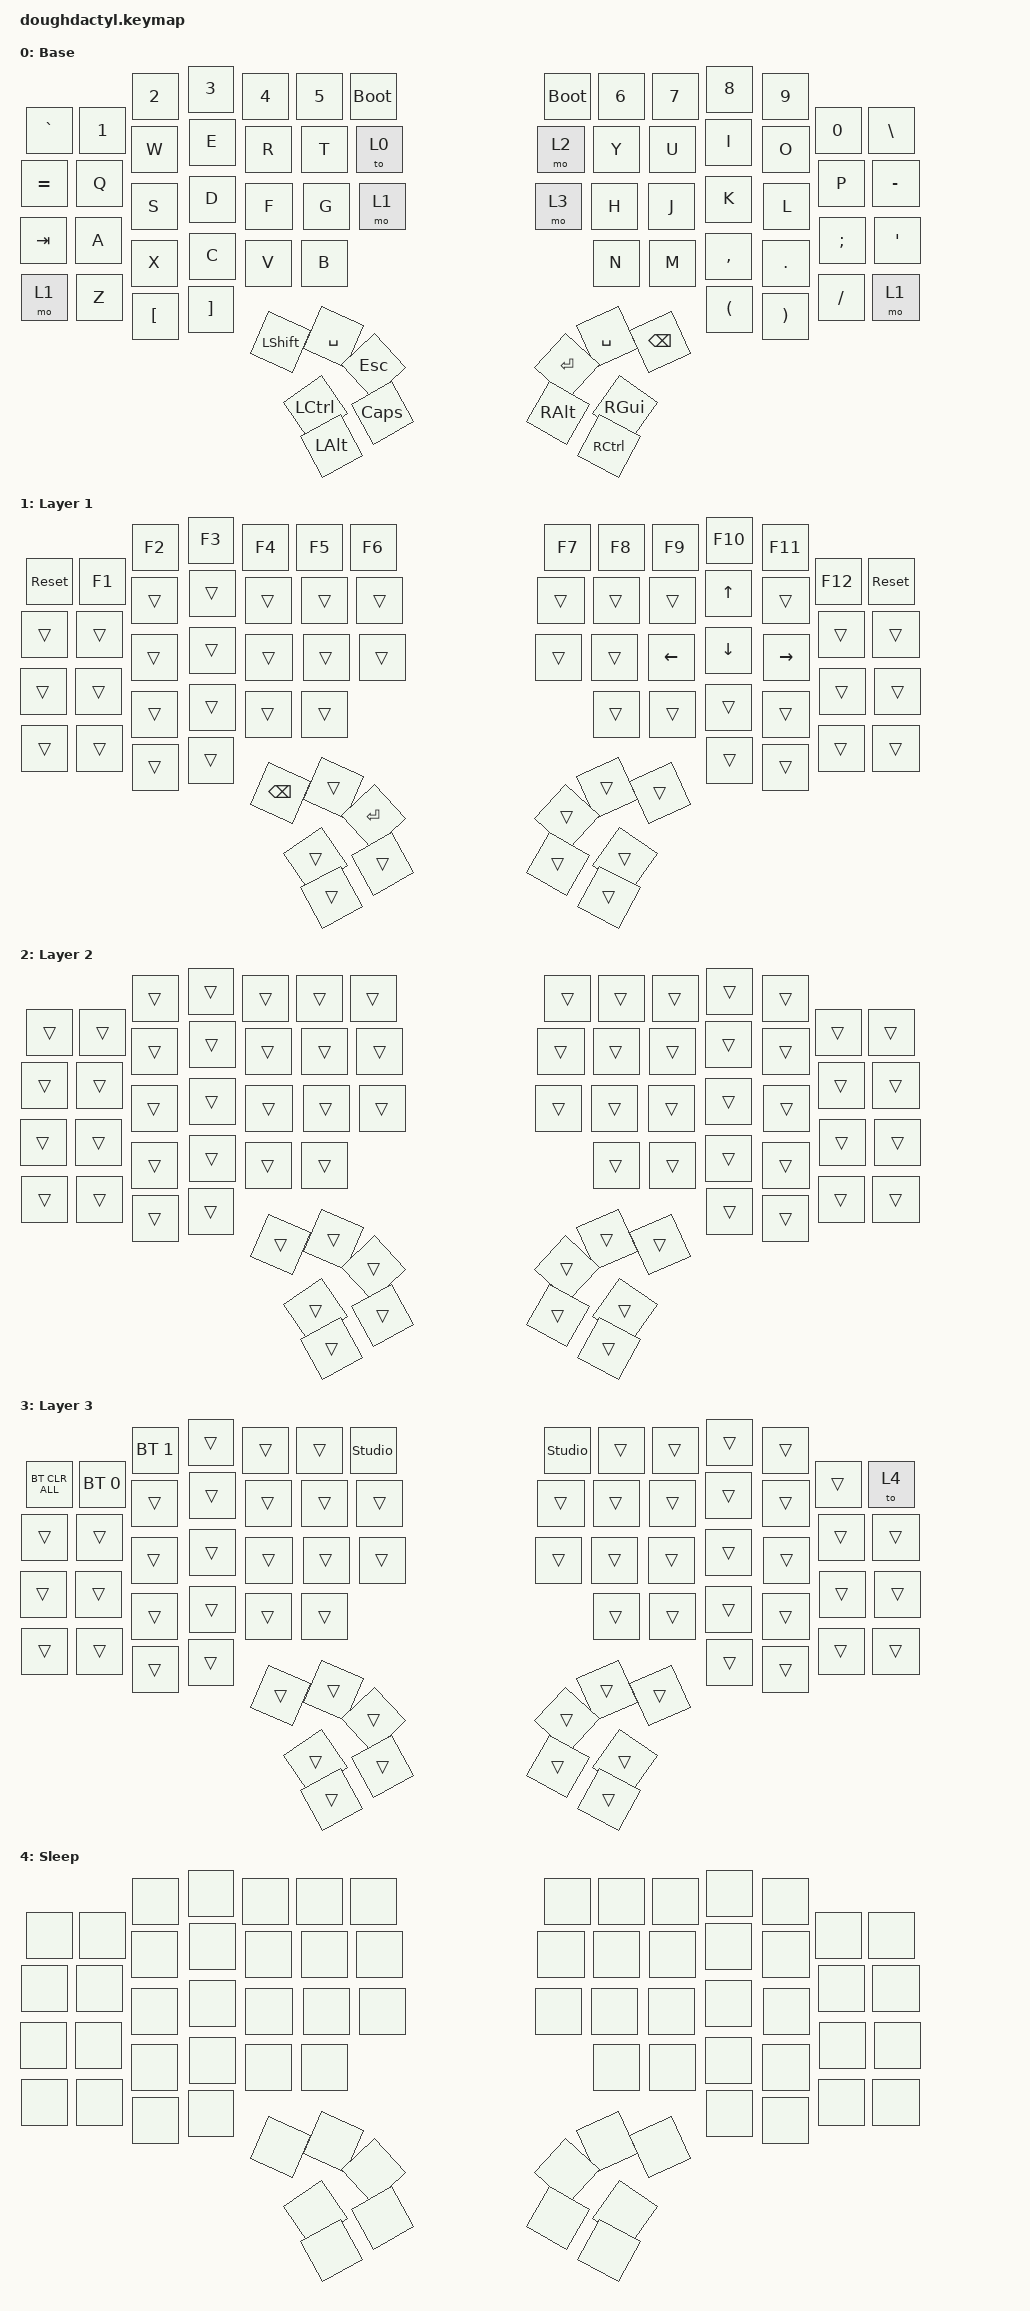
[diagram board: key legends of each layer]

#include <behaviors.dtsi>
#include <dt-bindings/zmk/bt.h>
#include <dt-bindings/zmk/keys.h>

/ {
    combos {
        compatible = "zmk,combos";

        On {
            bindings = <&to 0>;
            key-positions = <32 31 37 38>;
            layers = <4>;
            require-prior-idle-ms = <0>;
        };
    };

    keymap {
        compatible = "zmk,keymap";

        default_layer {
            display-name = "Base";
            bindings = <
&kp GRAVE         &kp N1             &kp N2                &kp N3                 &kp N4        &kp N5        &bootloader  &bootloader    &kp N6     &kp N7         &kp N8         &kp N9     &kp N0    &kp BACKSLASH
&kp EQUAL         &kp Q              &kp W                 &kp E                  &kp R         &kp T         &to 0        &mo 2          &kp Y      &kp U          &kp I          &kp O      &kp P     &kp MINUS
&kp TAB           &kp A              &kp S                 &kp D                  &kp F         &kp G         &mo 1        &mo 3          &kp H      &kp J          &kp K          &kp L      &kp SEMI  &kp SQT
&mo 1             &kp Z              &kp X                 &kp C                  &kp V         &kp B         &kp N        &kp M          &kp COMMA  &kp DOT        &kp FSLH       &mo 1
&kp LEFT_BRACKET  &kp RIGHT_BRACKET  &kp LEFT_PARENTHESIS  &kp RIGHT_PARENTHESIS
&kp SPACE         &kp LEFT_SHIFT     &kp ESCAPE            &kp LCTRL              &kp CAPSLOCK  &kp LEFT_ALT  &kp SPACE    &kp BACKSPACE  &kp RET    &kp RIGHT_GUI  &kp RIGHT_ALT  &kp RCTRL
            >;
        };

        layer_1 {
            display-name = "Layer 1";
            bindings = <
&sys_reset  &kp F1    &kp F2     &kp F3  &kp F4  &kp F5  &kp F6  &kp F7  &kp F8  &kp F9          &kp F10       &kp F11    &kp F12  &sys_reset
&trans      &trans    &trans     &trans  &trans  &trans  &trans  &trans  &trans  &trans          &kp UP_ARROW  &trans     &trans   &trans
&trans      &trans    &trans     &trans  &trans  &trans  &trans  &trans  &trans  &kp LEFT_ARROW  &kp DOWN      &kp RIGHT  &trans   &trans
&trans      &trans    &trans     &trans  &trans  &trans  &trans  &trans  &trans  &trans          &trans        &trans
&trans      &trans    &trans     &trans
&trans      &kp BSPC  &kp ENTER  &trans  &trans  &trans  &trans  &trans  &trans  &trans          &trans        &trans
            >;
        };

        layer_2 {
            display-name = "Layer 2";
            bindings = <
&trans  &trans  &trans  &trans  &trans  &trans  &trans  &trans  &trans  &trans  &trans  &trans  &trans  &trans
&trans  &trans  &trans  &trans  &trans  &trans  &trans  &trans  &trans  &trans  &trans  &trans  &trans  &trans
&trans  &trans  &trans  &trans  &trans  &trans  &trans  &trans  &trans  &trans  &trans  &trans  &trans  &trans
&trans  &trans  &trans  &trans  &trans  &trans  &trans  &trans  &trans  &trans  &trans  &trans
&trans  &trans  &trans  &trans
&trans  &trans  &trans  &trans  &trans  &trans  &trans  &trans  &trans  &trans  &trans  &trans
            >;
        };

        key_Settings {
            display-name = "Layer 3";
            bindings = <
&bt BT_CLR_ALL  &bt BT_SEL 0  &bt BT_SEL 1  &trans  &trans  &trans  &studio_unlock  &studio_unlock  &trans  &trans  &trans  &trans  &trans  &to 4
&trans          &trans        &trans        &trans  &trans  &trans  &trans          &trans          &trans  &trans  &trans  &trans  &trans  &trans
&trans          &trans        &trans        &trans  &trans  &trans  &trans          &trans          &trans  &trans  &trans  &trans  &trans  &trans
&trans          &trans        &trans        &trans  &trans  &trans  &trans          &trans          &trans  &trans  &trans  &trans
&trans          &trans        &trans        &trans
&trans          &trans        &trans        &trans  &trans  &trans  &trans          &trans          &trans  &trans  &trans  &trans
            >;
        };

        Sleep {
            bindings = <
&none  &none  &none  &none  &none  &none  &none  &none  &none  &none  &none  &none  &none  &none
&none  &none  &none  &none  &none  &none  &none  &none  &none  &none  &none  &none  &none  &none
&none  &none  &none  &none  &none  &none  &none  &none  &none  &none  &none  &none  &none  &none
&none  &none  &none  &none  &none  &none  &none  &none  &none  &none  &none  &none
&none  &none  &none  &none
&none  &none  &none  &none  &none  &none  &none  &none  &none  &none  &none  &none
            >;
        };
    };
};



/* #include <behaviors.dtsi> */
/* #include <dt-bindings/zmk/keys.h> */

/* / { */
/*     keymap { */
/*         compatible = "zmk,keymap"; */
/**/
/*         default_layer { */
/*             display-name = "Base"; */
/*             bindings = <&kp ESC &kp N1 &kp N2 &kp N3 &kp N4 &kp N5 &trans &trans &kp N6 &kp N7 &kp N8 &kp N9 &kp N0 &kp SPACE &kp EQUAL &kp Q &kp W &kp E &kp R &kp T &kp SPACE &kp SPACE &kp Y &kp U &kp I &kp O &kp P &kp MINUS &kp TAB &kp A &kp S &kp D &kp F &kp G &kp SPACE &kp SPACE &kp H &kp J &kp K &kp L &kp SEMI &kp SQT &kp SPACE &kp Z &kp X &kp C &kp V &kp B &kp N &kp M &kp COMMA &kp DOT &kp FSLH &kp SPACE &kp RBKT &kp LBKT &kp LBKT &kp RBKT &kp SPACE &kp SQT &kp SPACE &kp SPACE &kp SPACE &kp SPACE &kp SPACE &kp ENTER &kp SPACE &kp SPACE &kp SPACE &mo 1>; */
/*         }; */
/**/
/*         layer_1 { */
/*             display-name = "Layer 1"; */
/*             bindings = <&trans &trans &trans &trans &trans &trans &studio_unlock &studio_unlock &trans &trans &trans &trans &trans &trans &trans &trans &trans &trans &trans &trans &trans &trans &trans &trans &trans &trans &trans &trans &trans &trans &trans &trans &trans &trans &trans &trans &trans &trans &trans &trans &trans &trans &trans &trans &trans &trans &trans &trans &trans &trans &trans &trans &trans &trans &trans &trans &trans &trans &trans &trans &trans &trans &trans &trans &trans &trans &trans &trans &trans &trans>; */
/*         }; */
/**/
/*         layer_2 { */
/*             display-name = "Layer 2"; */
/*             bindings = <&trans &trans &trans &trans &trans &trans &trans &trans &trans &trans &trans &trans &trans &trans &trans &trans &trans &trans &trans &trans &trans &trans &trans &trans &trans &trans &trans &trans &trans &trans &trans &trans &trans &trans &trans &trans &trans &trans &trans &trans &trans &trans &trans &trans &trans &trans &trans &trans &trans &trans &trans &trans &trans &trans &trans &trans &trans &trans &trans &trans &trans &trans &trans &trans &trans &trans &trans &trans &trans &trans>; */
/*         }; */
/**/
/*         layer_3 { */
/*             display-name = "Layer 3"; */
/*             bindings = <&trans &trans &trans &trans &trans &trans &trans &trans &trans &trans &trans &trans &trans &trans &trans &trans &trans &trans &trans &trans &trans &trans &trans &trans &trans &trans &trans &trans &trans &trans &trans &trans &trans &trans &trans &trans &trans &trans &trans &trans &trans &trans &trans &trans &trans &trans &trans &trans &trans &trans &trans &trans &trans &trans &trans &trans &trans &trans &trans &trans &trans &trans &trans &trans &trans &trans &trans &trans &trans &trans>; */
/*         }; */
/*     }; */
/* }; */
